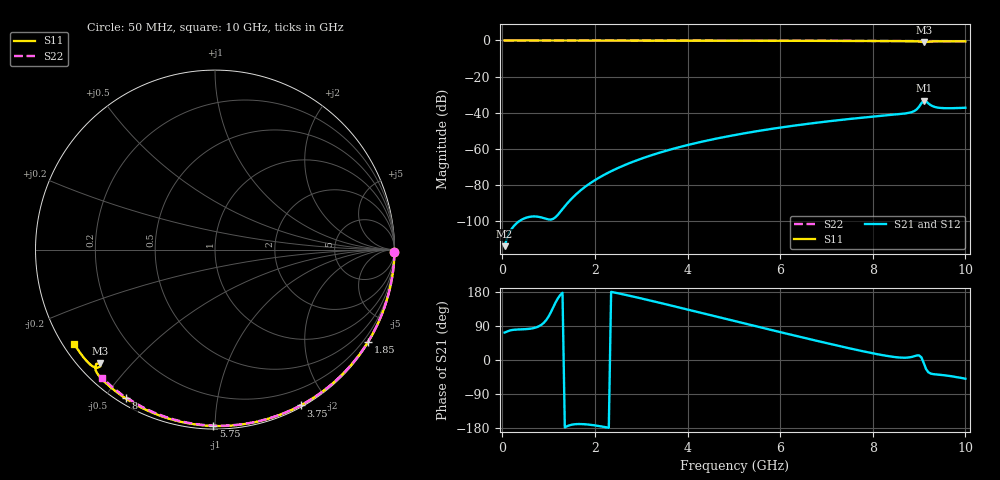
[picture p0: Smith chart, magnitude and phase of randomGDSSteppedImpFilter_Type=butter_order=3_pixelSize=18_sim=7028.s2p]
! freq	dB(S11)	phase(S11)	dB(S12)	phase(S12)
!  dB(S21)	phase(S21)	dB(S22)	phase(S22)
!S-par simulation data
#  GHz  S  DB  R 50
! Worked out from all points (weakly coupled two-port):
!   200 points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, 50 MHz to 10 GHz, reference 50 ohm
!   highest |S21| = -33.33 dB at 9.1 GHz (marker M1); lowest = -113.8 dB at 50 MHz (marker M2)
!   lowest |S11| = -0.9 dB at 9.1 GHz (marker M3), VSWR 19.30, Z = 3.03 - j20.5 ohm
!   |S11| at or under -10 dB: nowhere
!   |S22| runs from -0.4 to 0.0 dB; largest |S21 - S12| = 0
!   S11 on the Smith chart (normalised r, x): 50 MHz: open; 1.85 GHz: 0.03, -3.60; 3.75 GHz: 0.02, -1.69; 5.75 GHz: 0.02, -0.99; 8 GHz: 0.02, -0.57; 10 GHz: 0.03, -0.30
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0.05  -0.00 -0.9  -113.78 72.5  -113.78 72.5  -0.00 -0.8
0.9  -0.02 -15.3  -98.31 98.6  -98.31 98.6  -0.02 -13.6
1.75  -0.04 -29.4  -81.71 -169.3  -81.71 -169.3  -0.03 -26.2
1.85  -0.04 -31.0  -79.81 -170.3  -79.81 -170.3  -0.04 -27.6
2.15  -0.05 -35.9  -75.01 -175.5  -75.01 -175.5  -0.04 -32.0
2.5  -0.05 -41.6  -70.52 176.1  -70.52 176.1  -0.05 -37.1
2.9  -0.06 -48.0  -66.33 165.3  -66.33 165.3  -0.06 -42.8
3.4  -0.07 -55.8  -62.04 151.0  -62.04 151.0  -0.07 -49.8
3.75  -0.08 -61.2  -59.50 140.6  -59.50 140.6  -0.07 -54.7
4.35  -0.10 -70.3  -55.77 122.7  -55.77 122.7  -0.09 -62.9
5.05  -0.12 -80.6  -52.16 101.8  -52.16 101.8  -0.11 -72.1
5.75  -0.15 -90.5  -49.15 81.0  -49.15 81.0  -0.14 -81.1
6.7  -0.20 -103.7  -45.78 53.2  -45.78 53.2  -0.18 -93.0
8  -0.29 -121.0  -42.14 17.7  -42.14 17.7  -0.26 -108.5
8.35  -0.32 -125.7  -41.31 9.9  -41.31 9.9  -0.29 -112.5
8.85  -0.41 -132.9  -39.53 8.3  -39.53 8.3  -0.33 -118.3
8.95  -0.48 -134.6  -38.07 11.9  -38.07 11.9  -0.34 -119.4
9.1  -0.90 -135.4  -33.33 -7.7  -33.33 -7.7  -0.35 -121.0
9.15  -0.80 -134.5  -33.68 -23.7  -33.68 -23.7  -0.34 -121.6
9.3  -0.52 -136.4  -36.43 -37.2  -36.43 -37.2  -0.36 -123.4
9.4  -0.48 -138.0  -37.12 -38.5  -37.12 -38.5  -0.37 -124.5
10  -0.50 -146.3  -37.20 -49.4  -37.20 -49.4  -0.44 -131.3
